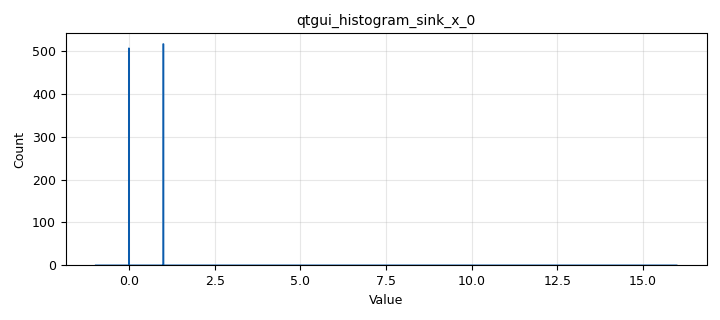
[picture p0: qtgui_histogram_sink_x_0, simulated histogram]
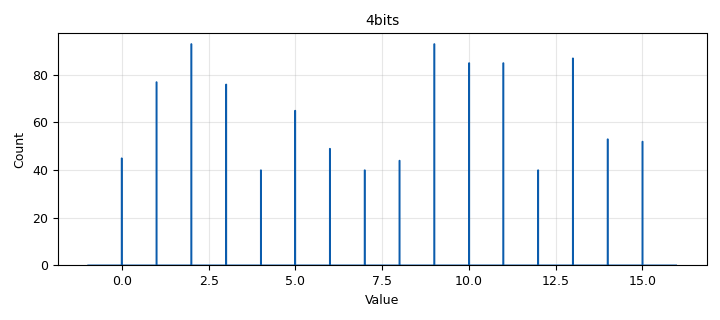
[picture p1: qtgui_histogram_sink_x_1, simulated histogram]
options:
  parameters:
    author: mineev
    generate_options: qt_gui
    id: bytesex
    output_language: python
    title: Not titled yet
  states: {}

blocks:
- name: samp_rate
  id: variable
  parameters:
    value: '32000'
  states: {}
- name: analog_random_source_x_0
  id: analog_random_source_x
  parameters:
    max: '2'
    min: '0'
    num_samps: '1000'
    repeat: 'True'
    type: byte
  states: {}
- name: blocks_char_to_float_0
  id: blocks_char_to_float
  parameters:
    scale: '1'
  states: {}
- name: blocks_char_to_float_0_0
  id: blocks_char_to_float
  parameters:
    scale: '1'
  states: {}
- name: blocks_pack_k_bits_bb_0
  id: blocks_pack_k_bits_bb
  parameters:
    k: '4'
  states: {}
- name: blocks_throttle2_0_0
  id: blocks_throttle2
  parameters:
    samples_per_second: samp_rate
    type: byte
  states: {}
- name: qtgui_histogram_sink_x_0
  id: qtgui_histogram_sink_x
  parameters:
    bins: '1024'
    size: '1024'
    type: float
    xmax: '16'
    xmin: '-1'
  states: {}
- name: qtgui_histogram_sink_x_1
  id: qtgui_histogram_sink_x
  parameters:
    alias: 4bits
    bins: '1024'
    name: 4bits
    size: '1024'
    type: float
    xmax: '16'
    xmin: '-1'
  states: {}

connections:
- [analog_random_source_x_0, '0', blocks_throttle2_0_0, '0']
- [blocks_char_to_float_0, '0', qtgui_histogram_sink_x_0, '0']
- [blocks_char_to_float_0_0, '0', qtgui_histogram_sink_x_1, '0']
- [blocks_pack_k_bits_bb_0, '0', blocks_char_to_float_0_0, '0']
- [blocks_throttle2_0_0, '0', blocks_char_to_float_0, '0']
- [blocks_throttle2_0_0, '0', blocks_pack_k_bits_bb_0, '0']

metadata:
  file_format: 1
  grc_version: 3.10.7.0
